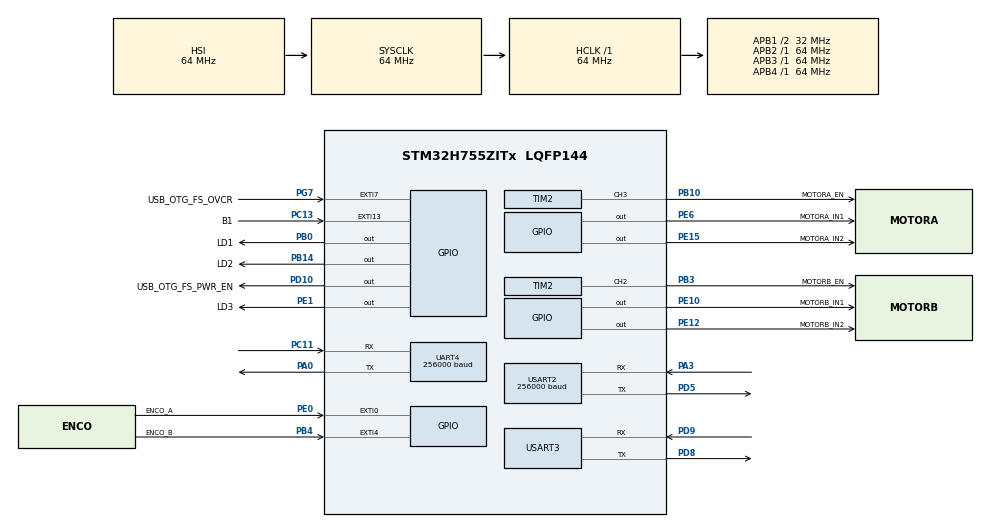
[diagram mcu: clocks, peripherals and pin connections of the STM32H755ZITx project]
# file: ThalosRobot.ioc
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CortexM4.IPs=FATFS_M4\:I,FREERTOS_M4\:I,IWDG2\:I,RCC,WWDG2\:I,DMA,BDMA,MDMA,NVIC2\:I,ETH,USART3,DEBUG,PDM2PCM_M4\:I,PWR,RESMGR_UTILITY,SYS_M4\:I,USB_DEVICE_M4\:I,USB_HOST_M4\:I,CORTEX_M4\:I,GPIO,OPENAMP_M4\:I,VREFBUF,NUCLEO-H755ZI-Q
CortexM7.IPs=FATFS_M7\:I,FREERTOS_M7\:I,IWDG1\:I,RCC\:I,WWDG1\:I,DMA\:I,BDMA\:I,MDMA\:I,NVIC1\:I,ETH\:I,USART3\:I,USB_OTG_FS\:I,USB_OTG_FS1\:I,SYS\:I,CORTEX_M7\:I,DEBUG\:I,PDM2PCM_M7\:I,PWR\:I,RESMGR_UTILITY\:I,USB_DEVICE_M7\:I,USB_HOST_M7\:I,GPIO\:I,OPENAMP_M7\:I,VREFBUF\:I,NUCLEO-H755ZI-Q\:I,TIM6\:I,TIM2\:I,USART2\:I,UART4\:I
CortexM7.Pins=PE6,PC13,PB0,PE10,PE12,PE15,PB14,PB4 (NJTRST),PE0,PE1
Dma.Request0=USART2_RX
Dma.Request1=UART4_RX
Dma.UART4_RX.1.Direction=DMA_PERIPH_TO_MEMORY
Dma.UART4_RX.1.EventEnable=DISABLE
Dma.UART4_RX.1.FIFOMode=DMA_FIFOMODE_DISABLE
Dma.UART4_RX.1.Instance=DMA1_Stream1
Dma.UART4_RX.1.MemDataAlignment=DMA_MDATAALIGN_BYTE
Dma.UART4_RX.1.MemInc=DMA_MINC_ENABLE
Dma.UART4_RX.1.Mode=DMA_CIRCULAR
Dma.UART4_RX.1.PeriphDataAlignment=DMA_PDATAALIGN_BYTE
Dma.UART4_RX.1.PeriphInc=DMA_PINC_DISABLE
Dma.UART4_RX.1.Polarity=HAL_DMAMUX_REQ_GEN_RISING
Dma.UART4_RX.1.Priority=DMA_PRIORITY_LOW
Dma.UART4_RX.1.RequestNumber=1
Dma.UART4_RX.1.SignalID=NONE
Dma.UART4_RX.1.SyncEnable=DISABLE
Dma.UART4_RX.1.SyncPolarity=HAL_DMAMUX_SYNC_NO_EVENT
Dma.UART4_RX.1.SyncRequestNumber=1
Dma.UART4_RX.1.SyncSignalID=NONE
Dma.USART2_RX.0.Direction=DMA_PERIPH_TO_MEMORY
Dma.USART2_RX.0.EventEnable=DISABLE
Dma.USART2_RX.0.FIFOMode=DMA_FIFOMODE_DISABLE
Dma.USART2_RX.0.Instance=DMA1_Stream0
Dma.USART2_RX.0.MemDataAlignment=DMA_MDATAALIGN_BYTE
Dma.USART2_RX.0.MemInc=DMA_MINC_ENABLE
Dma.USART2_RX.0.Mode=DMA_CIRCULAR
Dma.USART2_RX.0.PeriphDataAlignment=DMA_PDATAALIGN_BYTE
Dma.USART2_RX.0.PeriphInc=DMA_PINC_DISABLE
Dma.USART2_RX.0.Polarity=HAL_DMAMUX_REQ_GEN_RISING
Dma.USART2_RX.0.Priority=DMA_PRIORITY_LOW
Dma.USART2_RX.0.RequestNumber=1
Dma.USART2_RX.0.SignalID=NONE
Dma.USART2_RX.0.SyncEnable=DISABLE
Dma.USART2_RX.0.SyncPolarity=HAL_DMAMUX_SYNC_NO_EVENT
Dma.USART2_RX.0.SyncRequestNumber=1
Dma.USART2_RX.0.SyncSignalID=NONE
FREERTOS_M7.BinarySemaphores01=ldRxSem1,Dynamic,NULL,Depleted;ldRxSem2,Dynamic,NULL,Depleted;humanSem,Dynamic,NULL,Depleted
FREERTOS_M7.Mutexes01=telemetryMutex,Dynamic,NULL,Available
FREERTOS_M7.Queues01=trackingQueue,6,LD2450_Msg_t,0,Dynamic,NULL,NULL;fusedQueue,8,Fused_Msg_t,0,Dynamic,NULL,NULL
FREERTOS_M7.Tasks01=motionTask,24,128,StartMotionTask,Default,NULL,Dynamic,NULL,NULL;heartbeatTask,8,128,StartHeartbeathTask,Default,NULL,Dynamic,NULL,NULL;telemetryTask,8,512,StartTelemetryTask,Default,NULL,Dynamic,NULL,NULL;process1Trackin,25,256,StartProcessTracking1,Default,NULL,Dynamic,NULL,NULL;process2Trackin,25,256,StartProcessTracking2,Default,NULL,Dynamic,NULL,NULL;fusionLD,24,256,StartFusionLD,Default,NULL,Dynamic,NULL,NULL;motorTask,26,256,StartMotorTask,Default,NULL,Dynamic,NULL,NULL
FREERTOS_M7.configUSE_NEWLIB_REENTRANT=1
Mcu.Family=STM32H7
Mcu.Name=STM32H755ZITx
Mcu.Package=LQFP144
NVIC1.DMA1_Stream0_IRQn=true\:5\:0\:false\:false\:true\:true\:false\:true\:true
NVIC1.DMA1_Stream1_IRQn=true\:5\:0\:false\:false\:true\:true\:false\:true\:true
NVIC1.EXTI0_IRQn=true\:5\:0\:false\:false\:true\:true\:true\:true\:true
NVIC1.EXTI15_10_IRQn=true\:5\:0\:true\:false\:true\:true\:true\:true\:true
NVIC1.EXTI4_IRQn=true\:5\:0\:false\:false\:true\:true\:true\:true\:true
NVIC1.PriorityGroup=NVIC_PRIORITYGROUP_4
NVIC1.TIM6_DAC_IRQn=true\:15\:0\:false\:false\:true\:false\:false\:true\:true
NVIC1.TimeBase=TIM6_DAC_IRQn
NVIC1.TimeBaseIP=TIM6
NVIC1.UART4_IRQn=true\:5\:0\:false\:false\:true\:true\:true\:true\:true
NVIC1.USART2_IRQn=true\:5\:0\:false\:false\:true\:true\:true\:true\:true
NVIC2.PriorityGroup=NVIC_PRIORITYGROUP_4
PA0.Mode=Asynchronous
PA0.PinAttribute=CortexM7
PA0.Signal=UART4_TX
PA1.PinAttribute=CortexM7
PA1.Signal=ETH_REF_CLK
PA11.PinAttribute=CortexM7
PA11.Signal=USB_OTG_FS_DM
PA12.PinAttribute=CortexM7
PA12.Signal=USB_OTG_FS_DP
PA2.PinAttribute=CortexM7
PA2.Signal=ETH_MDIO
PA3.Mode=Asynchronous
PA3.PinAttribute=CortexM7
PA3.Signal=USART2_RX
PA7.PinAttribute=CortexM7
PA7.Signal=ETH_CRS_DV
PA8.PinAttribute=CortexM7
PA8.Signal=USB_OTG_FS_SOF
PA9.PinAttribute=CortexM7
PA9.Signal=USB_OTG_FS_VBUS
PB0.GPIO_Label=LD1
PB0.PinAttribute=CortexM7
PB0.Signal=GPIO_Output
PB10.GPIO_Label=MOTORA_EN
PB10.PinAttribute=CortexM7
PB10.Signal=S_TIM2_CH3
PB13.PinAttribute=CortexM7
PB13.Signal=ETH_TXD1
PB14.GPIO_Label=LD2
PB14.PinAttribute=CortexM7
PB14.Signal=GPIO_Output
PB3\ (JTDO/TRACESWO).GPIO_Label=MOTORB_EN
PB3\ (JTDO/TRACESWO).PinAttribute=CortexM7
PB3\ (JTDO/TRACESWO).Signal=S_TIM2_CH2
PB4\ (NJTRST).GPIO_Label=ENCO_B
PB4\ (NJTRST).PinAttribute=CortexM7
PB4\ (NJTRST).Signal=GPXTI4
PC1.PinAttribute=CortexM7
PC1.Signal=ETH_MDC
PC11.Mode=Asynchronous
PC11.PinAttribute=CortexM7
PC11.Signal=UART4_RX
PC13.GPIO_Label=B1
PC13.PinAttribute=CortexM7
PC13.Signal=GPXTI13
PC14-OSC32_IN\ (OSC32_IN).PinAttribute=Free
PC14-OSC32_IN\ (OSC32_IN).Signal=RCC_OSC32_IN
PC15-OSC32_OUT\ (OSC32_OUT).PinAttribute=Free
PC15-OSC32_OUT\ (OSC32_OUT).Signal=RCC_OSC32_OUT
PC4.PinAttribute=CortexM7
PC4.Signal=ETH_RXD0
PC5.PinAttribute=CortexM7
PC5.Signal=ETH_RXD1
PC6.Signal=S_TIM3_CH1
PD10.GPIO_Label=USB_OTG_FS_PWR_EN
PD10.PinAttribute=Free
PD10.Signal=GPIO_Output
PD5.Mode=Asynchronous
PD5.PinAttribute=CortexM7
PD5.Signal=USART2_TX
PD8.Mode=Asynchronous
PD8.PinAttribute=CortexM7
PD8.Signal=USART3_TX
PD9.Mode=Asynchronous
PD9.PinAttribute=CortexM7
PD9.Signal=USART3_RX
PE0.GPIO_Label=ENCO_A
PE0.PinAttribute=CortexM7
PE0.Signal=GPXTI0
PE1.GPIO_Label=LD3
PE1.PinAttribute=CortexM7
PE1.Signal=GPIO_Output
PE10.GPIO_Label=MOTORB_IN1
PE10.PinAttribute=CortexM7
PE10.Signal=GPIO_Output
PE12.GPIO_Label=MOTORB_IN2
PE12.PinAttribute=CortexM7
PE12.Signal=GPIO_Output
PE15.GPIO_Label=MOTORA_IN2
PE15.PinAttribute=CortexM7
PE15.Signal=GPIO_Output
PE6.GPIO_Label=MOTORA_IN1
PE6.PinAttribute=CortexM7
PE6.Signal=GPIO_Output
PG11.PinAttribute=CortexM7
PG11.Signal=ETH_TX_EN
PG13.PinAttribute=CortexM7
PG13.Signal=ETH_TXD0
PG7.GPIO_Label=USB_OTG_FS_OVCR
PG7.PinAttribute=Free
PG7.Signal=GPXTI7
PH0-OSC_IN\ (PH0).PinAttribute=Free
PH0-OSC_IN\ (PH0).Signal=RCC_OSC_IN
PH1-OSC_OUT\ (PH1).PinAttribute=Free
PH1-OSC_OUT\ (PH1).Signal=RCC_OSC_OUT
ProjectManager.HeapSize=M4-0x200,M7-0x200
ProjectManager.StackSize=M4-0x400,M7-0x400
ProjectManager.TargetToolchain=STM32CubeIDE
RCC.ADCFreq_Value=129000000
RCC.APB1Freq_Value=32000000
RCC.APB2Freq_Value=64000000
RCC.APB3Freq_Value=64000000
RCC.APB4Freq_Value=64000000
RCC.CortexFreq_Value=64000000
RCC.D2PPRE1=RCC_APB1_DIV2
RCC.DIVM1=5
RCC.DIVN1=48
RCC.DIVQ1=5
RCC.HCLKFreq_Value=64000000
RCC.PLL2FRACN=0
RCC.PLL3FRACN=0
RCC.PLLFRACN=0
RCC.SYSCLKFreq_VALUE=64000000
RCC.SupplySource=PWR_DIRECT_SMPS_SUPPLY
RCC.USBFreq_Value=122880000
SH.S_TIM2_CH2.0=TIM2_CH2,PWM Generation2 CH2
SH.S_TIM2_CH3.0=TIM2_CH3,PWM Generation3 CH3
SH.S_TIM3_CH1.0=TIM3_CH1
TIM2.AutoReloadPreload=TIM_AUTORELOAD_PRELOAD_ENABLE
TIM2.Channel-PWM\ Generation2\ CH2=TIM_CHANNEL_2
TIM2.Channel-PWM\ Generation3\ CH3=TIM_CHANNEL_3
TIM2.Period=65535
TIM2.Prescaler=0
UART4.BaudRate=256000
USART2.BaudRate=256000
USART2.VirtualMode-Asynchronous=VM_ASYNC
USART3.VirtualMode-Asynchronous=VM_ASYNC
VP_FREERTOS_M7_VS_CMSIS_V2.Mode=CMSIS_V2
VP_SYS_M4_VS_Systick.Mode=SysTick
VP_SYS_VS_tim6.Mode=TIM6
VP_TIM2_VS_ClockSourceINT.Mode=Internal
board=NUCLEO-H755ZI-Q

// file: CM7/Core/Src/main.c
/* USER CODE BEGIN Header */
/**
  ******************************************************************************
  * @file           : main.c
  * @brief          : Main program body
  ******************************************************************************
  * @attention
  *
  * Copyright (c) 2026 STMicroelectronics.
  * All rights reserved.
  *
  * This software is licensed under terms that can be found in the LICENSE file
  * in the root directory of this software component.
  * If no LICENSE file comes with this software, it is provided AS-IS.
  *
  ******************************************************************************
  */
/* USER CODE END Header */
#include "main.h"
#include "FreeRTOS.h"
#include "cmsis_os2.h"

/* USER CODE BEGIN Includes */

#include <stdint.h>
#include <stdio.h>
#include <string.h>
#include <stdlib.h>

#include "LD2450.h"
#include "encoder.h"
#include "motor.h"

/* USER CODE END Includes */

/* USER CODE BEGIN PTD */

typedef struct {
  LD2450_Handle_t       *radar;
  uint8_t                id;
  UART_HandleTypeDef    *huart;
  osMessageQueueId_t     queue;
  osSemaphoreId_t        sem;
} RadarTaskCfg_t;

typedef struct {
  int16_t x, y, speed;
  uint8_t src;             // bit0 = visto por R1, bit1 = visto por R2
} Fused_Target_t;

#define MAX_FUSED    6

typedef struct {
  uint32_t timestamp;
  uint8_t  count;
  Fused_Target_t t[MAX_FUSED];
} Fused_Msg_t;

/* USER CODE END PTD */

/* USER CODE BEGIN PD */

#define T_HEARTBEAT_MS      250U      // Cambio de estado del LED verde (Task Heartbeat)

#define DISTANCE_T   45   // mm entre radares
#define MAX_AGE_MS   150   // un frame más viejo se descarta
#define GATE_MM      300   // distancia máxima para considerar el mismo blanco
#define TS_MS         40

/* DUAL_CORE_BOOT_SYNC_SEQUENCE: Define for dual core boot synchronization    */
/*                             demonstration code based on hardware semaphore */
/* This define is present in both CM7/CM4 projects                            */
/* To comment when developping/debugging on a single core                     */
// #define DUAL_CORE_BOOT_SYNC_SEQUENCE

#if defined(DUAL_CORE_BOOT_SYNC_SEQUENCE)
#ifndef HSEM_ID_0
#define HSEM_ID_0 (0U) /* HW semaphore 0*/
#endif
#endif /* DUAL_CORE_BOOT_SYNC_SEQUENCE */

/* USER CODE END PD */

TIM_HandleTypeDef htim2;

UART_HandleTypeDef huart4;
UART_HandleTypeDef huart2;
UART_HandleTypeDef huart3;
DMA_HandleTypeDef hdma_uart4_rx;
DMA_HandleTypeDef hdma_usart2_rx;

/* Definitions for motionTask */
osThreadId_t motionTaskHandle;
const osThreadAttr_t motionTask_attributes = {
  .name = "motionTask",
  .stack_size = 128 * 4,
  .priority = (osPriority_t) osPriorityNormal,
};
/* Definitions for heartbeatTask */
osThreadId_t heartbeatTaskHandle;
const osThreadAttr_t heartbeatTask_attributes = {
  .name = "heartbeatTask",
  .stack_size = 128 * 4,
  .priority = (osPriority_t) osPriorityLow,
};
/* Definitions for telemetryTask */
osThreadId_t telemetryTaskHandle;
const osThreadAttr_t telemetryTask_attributes = {
  .name = "telemetryTask",
  .stack_size = 512 * 4,
  .priority = (osPriority_t) osPriorityLow,
};
/* Definitions for process1Trackin */
osThreadId_t process1TrackinHandle;
const osThreadAttr_t process1Trackin_attributes = {
  .name = "process1Trackin",
  .stack_size = 256 * 4,
  .priority = (osPriority_t) osPriorityNormal1,
};
/* Definitions for process2Trackin */
osThreadId_t process2TrackinHandle;
const osThreadAttr_t process2Trackin_attributes = {
  .name = "process2Trackin",
  .stack_size = 256 * 4,
  .priority = (osPriority_t) osPriorityNormal1,
};
/* Definitions for fusionLD */
osThreadId_t fusionLDHandle;
const osThreadAttr_t fusionLD_attributes = {
  .name = "fusionLD",
  .stack_size = 256 * 4,
  .priority = (osPriority_t) osPriorityNormal,
};
/* Definitions for motorTask */
osThreadId_t motorTaskHandle;
const osThreadAttr_t motorTask_attributes = {
  .name = "motorTask",
  .stack_size = 256 * 4,
  .priority = (osPriority_t) osPriorityNormal,
};
/* Definitions for trackingQueue */
osMessageQueueId_t trackingQueueHandle;
const osMessageQueueAttr_t trackingQueue_attributes = {
  .name = "trackingQueue"
};
/* Definitions for fusedQueue */
osMessageQueueId_t fusedQueueHandle;
const osMessageQueueAttr_t fusedQueue_attributes = {
  .name = "fusedQueue"
};
/* Definitions for telemetryMutex */
osMutexId_t telemetryMutexHandle;
const osMutexAttr_t telemetryMutex_attributes = {
  .name = "telemetryMutex"
};
/* Definitions for ldRxSem1 */
osSemaphoreId_t ldRxSem1Handle;
const osSemaphoreAttr_t ldRxSem1_attributes = {
  .name = "ldRxSem1"
};
/* Definitions for ldRxSem2 */
osSemaphoreId_t ldRxSem2Handle;
const osSemaphoreAttr_t ldRxSem2_attributes = {
  .name = "ldRxSem2"
};
/* Definitions for humanSem */
osSemaphoreId_t humanSemHandle;
const osSemaphoreAttr_t humanSem_attributes = {
  .name = "humanSem"
};
/* USER CODE BEGIN PV */

RadarTaskCfg_t cfg1, cfg2;

LD2450_Handle_t radar1;
LD2450_Handle_t radar2;

Motor_Handler_t motorA;
Motor_Handler_t motorB;

Encoder_Handler_t encoderA;
Encoder_Handler_t encoderB;

/* USER CODE END PV */

void SystemClock_Config(void);
static void MX_GPIO_Init(void);
static void MX_DMA_Init(void);
static void MX_USART3_UART_Init(void);
static void MX_TIM2_Init(void);
static void MX_USART2_UART_Init(void);
static void MX_UART4_Init(void);
void StartMotionTask(void *argument);
void StartHeartbeathTask(void *argument);
void StartTelemetryTask(void *argument);
void StartProcessTracking1(void *argument);
void StartProcessTracking2(void *argument);
void StartFusionLD(void *argument);
void StartMotorTask(void *argument);

/* USER CODE BEGIN PFP */

uint8_t normalize(const LD2450_Msg_t *m, int16_t x_offset, uint8_t src, Fused_Target_t *out) {
    uint8_t n = 0;

    for(int i = 0; i < 3; i++) {
      const LD2450_Target_t *t = &m->frame.t[i];
      if(!target_valid(t)) continue;

      out[n].x = t->x + x_offset;
      out[n].y = t->y;
      out[n].speed = t->speed;
      out[n].src = src;

      n++;
    }

    return n;
}

void push(LD2450_Msg_t *out, uint8_t *count, const LD2450_Target_t *t) {
  if(*count >= 3) return;
  out->frame.t[*count] = *t;

  (*count)++;
}

void RadarTask_Run(RadarTaskCfg_t *config) {
  // Cast the argument to the radar task configuration structure
  RadarTaskCfg_t *c = (RadarTaskCfg_t *)config;

  // Initialize the radar peripheral; enter error handler if initialization fails
  if (LD2450_Init(c->radar, c->id, c->huart, c->queue, c->sem) != HAL_OK)
  {
      Error_Handler();
  }

  /* Infinite loop */
  for (;;)
  {
      // Process radar data; if it fails, delay execution to free up CPU
      if (LD2450_Process(c->radar) != HAL_OK)
      {
          osDelay(100);
      }
  }
}

void UART_Print(const char *msg){
	osMutexAcquire(telemetryMutexHandle, osWaitForever);
	HAL_UART_Transmit(&huart3, (const uint8_t *)msg, (uint16_t)strlen(msg), 100);
	osMutexRelease(telemetryMutexHandle);
}

/* USER CODE END PFP */

int main(void)
{

/* USER CODE BEGIN Boot_Mode_Sequence_0 */
#if defined(DUAL_CORE_BOOT_SYNC_SEQUENCE)
  int32_t timeout;
#endif /* DUAL_CORE_BOOT_SYNC_SEQUENCE */
/* USER CODE END Boot_Mode_Sequence_0 */

/* USER CODE BEGIN Boot_Mode_Sequence_1 */
#if defined(DUAL_CORE_BOOT_SYNC_SEQUENCE)
  /* Wait until CPU2 boots and enters in stop mode or timeout*/
  timeout = 0xFFFF;
  while((__HAL_RCC_GET_FLAG(RCC_FLAG_D2CKRDY) != RESET) && (timeout-- > 0));
  if ( timeout < 0 )
  {
  Error_Handler();
  }
#endif /* DUAL_CORE_BOOT_SYNC_SEQUENCE */
/* USER CODE END Boot_Mode_Sequence_1 */
  /* MCU Configuration--------------------------------------------------------*/

  /* Reset of all peripherals, Initializes the Flash interface and the Systick. */
  HAL_Init();

  /* Configure the system clock */
  SystemClock_Config();
/* USER CODE BEGIN Boot_Mode_Sequence_2 */
#if defined(DUAL_CORE_BOOT_SYNC_SEQUENCE)
/* When system initialization is finished, Cortex-M7 will release Cortex-M4 by means of
HSEM notification */
/*HW semaphore Clock enable*/
__HAL_RCC_HSEM_CLK_ENABLE();
/*Take HSEM */
HAL_HSEM_FastTake(HSEM_ID_0);
/*Release HSEM in order to notify the CPU2(CM4)*/
HAL_HSEM_Release(HSEM_ID_0,0);
/* wait until CPU2 wakes up from stop mode */
timeout = 0xFFFF;
while((__HAL_RCC_GET_FLAG(RCC_FLAG_D2CKRDY) == RESET) && (timeout-- > 0));
if ( timeout < 0 )
{
Error_Handler();
}
#endif /* DUAL_CORE_BOOT_SYNC_SEQUENCE */
/* USER CODE END Boot_Mode_Sequence_2 */

  /* Initialize all configured peripherals */
  MX_GPIO_Init();
  MX_DMA_Init();
  MX_USART3_UART_Init();
  MX_TIM2_Init();
  MX_USART2_UART_Init();
  MX_UART4_Init();
  /* USER CODE BEGIN 2 */

  CoreDebug->DEMCR |= CoreDebug_DEMCR_TRCENA_Msk;
  DWT->LAR = 0xC5ACCE55;
  DWT->CYCCNT = 0;
  DWT->CTRL |= DWT_CTRL_CYCCNTENA_Msk;

  Encoder_Init(&encoderA, ENCO_A_Pin, 20);
  Encoder_Init(&encoderB, ENCO_B_Pin, 20);

  Motor_Config_t motorA_conf = {
    .encoder = &encoderA,
    .in1_pin = MOTORA_IN1_Pin,
    .in2_pin = MOTORA_IN2_Pin,
    .in1_port = MOTORA_IN1_GPIO_Port,
    .in2_port = MOTORA_IN2_GPIO_Port,
    .kp = 1.107f,
	  .ki = 12.65f,
    .pwm_ch = TIM_CHANNEL_3,
    .timer = &htim2
  };

  Motor_Config_t motorB_conf = {
    .encoder = &encoderB,
    .in1_pin = MOTORB_IN1_Pin,
    .in2_pin = MOTORB_IN2_Pin,
    .in1_port = MOTORB_IN1_GPIO_Port,
    .in2_port = MOTORB_IN2_GPIO_Port,
    .kp = 1.360f,
	  .ki = 13.29f,
    .pwm_ch = TIM_CHANNEL_2,
    .timer = &htim2
  };

  Motor_Init(&motorA, &motorA_conf);
  Motor_Init(&motorB, &motorB_conf);

  /* USER CODE END 2 */

  /* Init scheduler */
  osKernelInitialize();
  /* Create the mutex(es) */
  /* creation of telemetryMutex */
  telemetryMutexHandle = osMutexNew(&telemetryMutex_attributes);

  /* Create the semaphores(s) */
  /* creation of ldRxSem1 */
  ldRxSem1Handle = osSemaphoreNew(1, 0, &ldRxSem1_attributes);

  /* creation of ldRxSem2 */
  ldRxSem2Handle = osSemaphoreNew(1, 0, &ldRxSem2_attributes);

  /* creation of humanSem */
  humanSemHandle = osSemaphoreNew(1, 0, &humanSem_attributes);

  /* Create the queue(s) */
  /* creation of trackingQueue */
  trackingQueueHandle = osMessageQueueNew (6, sizeof(LD2450_Msg_t), &trackingQueue_attributes);

  /* creation of fusedQueue */
  fusedQueueHandle = osMessageQueueNew (8, sizeof(Fused_Msg_t), &fusedQueue_attributes);

  /* USER CODE BEGIN RTOS_QUEUES */
  /* add queues, ... */

  cfg1 = (RadarTaskCfg_t){ &radar1, 1, &huart2, trackingQueueHandle, ldRxSem1Handle };
  cfg2 = (RadarTaskCfg_t){ &radar2, 2, &huart4, trackingQueueHandle, ldRxSem2Handle };
  /* USER CODE END RTOS_QUEUES */

  /* Create the thread(s) */
  /* creation of motionTask */
  motionTaskHandle = osThreadNew(StartMotionTask, NULL, &motionTask_attributes);

  /* creation of heartbeatTask */
  heartbeatTaskHandle = osThreadNew(StartHeartbeathTask, NULL, &heartbeatTask_attributes);

  /* creation of telemetryTask */
  telemetryTaskHandle = osThreadNew(StartTelemetryTask, NULL, &telemetryTask_attributes);

  /* creation of process1Trackin */
  process1TrackinHandle = osThreadNew(StartProcessTracking1, NULL, &process1Trackin_attributes);

  /* creation of process2Trackin */
  process2TrackinHandle = osThreadNew(StartProcessTracking2, NULL, &process2Trackin_attributes);

  /* creation of fusionLD */
  fusionLDHandle = osThreadNew(StartFusionLD, NULL, &fusionLD_attributes);

  /* creation of motorTask */
  motorTaskHandle = osThreadNew(StartMotorTask, NULL, &motorTask_attributes);

  /* Start scheduler */
  osKernelStart();

  /* We should never get here as control is now taken by the scheduler */

  /* Infinite loop */
  while (1)
  {

  }
}

void SystemClock_Config(void)
{
  RCC_OscInitTypeDef RCC_OscInitStruct = {0};
  RCC_ClkInitTypeDef RCC_ClkInitStruct = {0};

  /** Supply configuration update enable
  */
  HAL_PWREx_ConfigSupply(PWR_DIRECT_SMPS_SUPPLY);

  /** Configure the main internal regulator output voltage
  */
  __HAL_PWR_VOLTAGESCALING_CONFIG(PWR_REGULATOR_VOLTAGE_SCALE3);

  while(!__HAL_PWR_GET_FLAG(PWR_FLAG_VOSRDY)) {}

  /** Initializes the RCC Oscillators according to the specified parameters
  * in the RCC_OscInitTypeDef structure.
  */
  RCC_OscInitStruct.OscillatorType = RCC_OSCILLATORTYPE_HSI;
  RCC_OscInitStruct.HSIState = RCC_HSI_DIV1;
  RCC_OscInitStruct.HSICalibrationValue = RCC_HSICALIBRATION_DEFAULT;
  RCC_OscInitStruct.PLL.PLLState = RCC_PLL_NONE;
  if (HAL_RCC_OscConfig(&RCC_OscInitStruct) != HAL_OK)
  {
    Error_Handler();
  }

  /** Initializes the CPU, AHB and APB buses clocks
  */
  RCC_ClkInitStruct.ClockType = RCC_CLOCKTYPE_HCLK|RCC_CLOCKTYPE_SYSCLK
                              |RCC_CLOCKTYPE_PCLK1|RCC_CLOCKTYPE_PCLK2
                              |RCC_CLOCKTYPE_D3PCLK1|RCC_CLOCKTYPE_D1PCLK1;
  RCC_ClkInitStruct.SYSCLKSource = RCC_SYSCLKSOURCE_HSI;
  RCC_ClkInitStruct.SYSCLKDivider = RCC_SYSCLK_DIV1;
  RCC_ClkInitStruct.AHBCLKDivider = RCC_HCLK_DIV1;
  RCC_ClkInitStruct.APB3CLKDivider = RCC_APB3_DIV1;
  RCC_ClkInitStruct.APB1CLKDivider = RCC_APB1_DIV2;
  RCC_ClkInitStruct.APB2CLKDivider = RCC_APB2_DIV1;
  RCC_ClkInitStruct.APB4CLKDivider = RCC_APB4_DIV1;

  if (HAL_RCC_ClockConfig(&RCC_ClkInitStruct, FLASH_LATENCY_1) != HAL_OK)
  {
    Error_Handler();
  }
}

static void MX_TIM2_Init(void)
{

  TIM_ClockConfigTypeDef sClockSourceConfig = {0};
  TIM_MasterConfigTypeDef sMasterConfig = {0};
  TIM_OC_InitTypeDef sConfigOC = {0};

  htim2.Instance = TIM2;
  htim2.Init.Prescaler = 15;
  htim2.Init.CounterMode = TIM_COUNTERMODE_UP;
  htim2.Init.Period = 255;
  htim2.Init.ClockDivision = TIM_CLOCKDIVISION_DIV1;
  htim2.Init.AutoReloadPreload = TIM_AUTORELOAD_PRELOAD_DISABLE;
  if (HAL_TIM_Base_Init(&htim2) != HAL_OK)
  {
    Error_Handler();
  }
  sClockSourceConfig.ClockSource = TIM_CLOCKSOURCE_INTERNAL;
  if (HAL_TIM_ConfigClockSource(&htim2, &sClockSourceConfig) != HAL_OK)
  {
    Error_Handler();
  }
  if (HAL_TIM_PWM_Init(&htim2) != HAL_OK)
  {
    Error_Handler();
  }
  sMasterConfig.MasterOutputTrigger = TIM_TRGO_RESET;
  sMasterConfig.MasterSlaveMode = TIM_MASTERSLAVEMODE_DISABLE;
  if (HAL_TIMEx_MasterConfigSynchronization(&htim2, &sMasterConfig) != HAL_OK)
  {
    Error_Handler();
  }
  sConfigOC.OCMode = TIM_OCMODE_PWM1;
  sConfigOC.Pulse = 0;
  sConfigOC.OCPolarity = TIM_OCPOLARITY_HIGH;
  sConfigOC.OCFastMode = TIM_OCFAST_DISABLE;
  if (HAL_TIM_PWM_ConfigChannel(&htim2, &sConfigOC, TIM_CHANNEL_2) != HAL_OK)
  {
    Error_Handler();
  }
  if (HAL_TIM_PWM_ConfigChannel(&htim2, &sConfigOC, TIM_CHANNEL_3) != HAL_OK)
  {
    Error_Handler();
  }
  HAL_TIM_MspPostInit(&htim2);

}

static void MX_UART4_Init(void)
{

  huart4.Instance = UART4;
  huart4.Init.BaudRate = 256000;
  huart4.Init.WordLength = UART_WORDLENGTH_8B;
  huart4.Init.StopBits = UART_STOPBITS_1;
  huart4.Init.Parity = UART_PARITY_NONE;
  huart4.Init.Mode = UART_MODE_TX_RX;
  huart4.Init.HwFlowCtl = UART_HWCONTROL_NONE;
  huart4.Init.OverSampling = UART_OVERSAMPLING_16;
  huart4.Init.OneBitSampling = UART_ONE_BIT_SAMPLE_DISABLE;
  huart4.Init.ClockPrescaler = UART_PRESCALER_DIV1;
  huart4.AdvancedInit.AdvFeatureInit = UART_ADVFEATURE_NO_INIT;
  if (HAL_UART_Init(&huart4) != HAL_OK)
  {
    Error_Handler();
  }
  if (HAL_UARTEx_SetTxFifoThreshold(&huart4, UART_TXFIFO_THRESHOLD_1_8) != HAL_OK)
  {
    Error_Handler();
  }
  if (HAL_UARTEx_SetRxFifoThreshold(&huart4, UART_RXFIFO_THRESHOLD_1_8) != HAL_OK)
  {
    Error_Handler();
  }
  if (HAL_UARTEx_DisableFifoMode(&huart4) != HAL_OK)
  {
    Error_Handler();
  }

}

static void MX_USART2_UART_Init(void)
{

  huart2.Instance = USART2;
  huart2.Init.BaudRate = 256000;
  huart2.Init.WordLength = UART_WORDLENGTH_8B;
  huart2.Init.StopBits = UART_STOPBITS_1;
  huart2.Init.Parity = UART_PARITY_NONE;
  huart2.Init.Mode = UART_MODE_TX_RX;
  huart2.Init.HwFlowCtl = UART_HWCONTROL_NONE;
  huart2.Init.OverSampling = UART_OVERSAMPLING_16;
  huart2.Init.OneBitSampling = UART_ONE_BIT_SAMPLE_DISABLE;
  huart2.Init.ClockPrescaler = UART_PRESCALER_DIV1;
  huart2.AdvancedInit.AdvFeatureInit = UART_ADVFEATURE_NO_INIT;
  if (HAL_UART_Init(&huart2) != HAL_OK)
  {
    Error_Handler();
  }
  if (HAL_UARTEx_SetTxFifoThreshold(&huart2, UART_TXFIFO_THRESHOLD_1_8) != HAL_OK)
  {
    Error_Handler();
  }
  if (HAL_UARTEx_SetRxFifoThreshold(&huart2, UART_RXFIFO_THRESHOLD_1_8) != HAL_OK)
  {
    Error_Handler();
  }
  if (HAL_UARTEx_DisableFifoMode(&huart2) != HAL_OK)
  {
    Error_Handler();
  }

}

static void MX_USART3_UART_Init(void)
{

  huart3.Instance = USART3;
  huart3.Init.BaudRate = 115200;
  huart3.Init.WordLength = UART_WORDLENGTH_8B;
  huart3.Init.StopBits = UART_STOPBITS_1;
  huart3.Init.Parity = UART_PARITY_NONE;
  huart3.Init.Mode = UART_MODE_TX_RX;
  huart3.Init.HwFlowCtl = UART_HWCONTROL_NONE;
  huart3.Init.OverSampling = UART_OVERSAMPLING_16;
  huart3.Init.OneBitSampling = UART_ONE_BIT_SAMPLE_DISABLE;
  huart3.Init.ClockPrescaler = UART_PRESCALER_DIV1;
  huart3.AdvancedInit.AdvFeatureInit = UART_ADVFEATURE_NO_INIT;
  if (HAL_UART_Init(&huart3) != HAL_OK)
  {
    Error_Handler();
  }
  if (HAL_UARTEx_SetTxFifoThreshold(&huart3, UART_TXFIFO_THRESHOLD_1_8) != HAL_OK)
  {
    Error_Handler();
  }
  if (HAL_UARTEx_SetRxFifoThreshold(&huart3, UART_RXFIFO_THRESHOLD_1_8) != HAL_OK)
  {
    Error_Handler();
  }
  if (HAL_UARTEx_DisableFifoMode(&huart3) != HAL_OK)
  {
    Error_Handler();
  }

}

static void MX_DMA_Init(void)
{

  /* DMA controller clock enable */
  __HAL_RCC_DMA1_CLK_ENABLE();

  /* DMA interrupt init */
  /* DMA1_Stream0_IRQn interrupt configuration */
  HAL_NVIC_SetPriority(DMA1_Stream0_IRQn, 5, 0);
  HAL_NVIC_EnableIRQ(DMA1_Stream0_IRQn);
  /* DMA1_Stream1_IRQn interrupt configuration */
  HAL_NVIC_SetPriority(DMA1_Stream1_IRQn, 5, 0);
  HAL_NVIC_EnableIRQ(DMA1_Stream1_IRQn);

}

static void MX_GPIO_Init(void)
{
  GPIO_InitTypeDef GPIO_InitStruct = {0};

  /* GPIO Ports Clock Enable */
  __HAL_RCC_GPIOE_CLK_ENABLE();
  __HAL_RCC_GPIOC_CLK_ENABLE();
  __HAL_RCC_GPIOA_CLK_ENABLE();
  __HAL_RCC_GPIOB_CLK_ENABLE();
  __HAL_RCC_GPIOD_CLK_ENABLE();
  __HAL_RCC_GPIOG_CLK_ENABLE();

  /*Configure GPIO pin Output Level */
  HAL_GPIO_WritePin(GPIOE, MOTORA_IN1_Pin|MOTORB_IN1_Pin|MOTORB_IN2_Pin|MOTORA_IN2_Pin
                          |LD3_Pin, GPIO_PIN_RESET);

  /*Configure GPIO pin Output Level */
  HAL_GPIO_WritePin(GPIOB, LD1_Pin|LD2_Pin, GPIO_PIN_RESET);

  /*Configure GPIO pins : MOTORA_IN1_Pin MOTORB_IN1_Pin MOTORB_IN2_Pin MOTORA_IN2_Pin
                           LD3_Pin */
  GPIO_InitStruct.Pin = MOTORA_IN1_Pin|MOTORB_IN1_Pin|MOTORB_IN2_Pin|MOTORA_IN2_Pin
                          |LD3_Pin;
  GPIO_InitStruct.Mode = GPIO_MODE_OUTPUT_PP;
  GPIO_InitStruct.Pull = GPIO_NOPULL;
  GPIO_InitStruct.Speed = GPIO_SPEED_FREQ_LOW;
  HAL_GPIO_Init(GPIOE, &GPIO_InitStruct);

  /*Configure GPIO pin : B1_Pin */
  GPIO_InitStruct.Pin = B1_Pin;
  GPIO_InitStruct.Mode = GPIO_MODE_IT_RISING;
  GPIO_InitStruct.Pull = GPIO_NOPULL;
  HAL_GPIO_Init(B1_GPIO_Port, &GPIO_InitStruct);

  /*Configure GPIO pins : PC1 PC4 PC5 */
  GPIO_InitStruct.Pin = GPIO_PIN_1|GPIO_PIN_4|GPIO_PIN_5;
  GPIO_InitStruct.Mode = GPIO_MODE_AF_PP;
  GPIO_InitStruct.Pull = GPIO_NOPULL;
  GPIO_InitStruct.Speed = GPIO_SPEED_FREQ_HIGH;
  GPIO_InitStruct.Alternate = GPIO_AF11_ETH;
  HAL_GPIO_Init(GPIOC, &GPIO_InitStruct);

  /*Configure GPIO pins : PA1 PA2 PA7 */
  GPIO_InitStruct.Pin = GPIO_PIN_1|GPIO_PIN_2|GPIO_PIN_7;
  GPIO_InitStruct.Mode = GPIO_MODE_AF_PP;
  GPIO_InitStruct.Pull = GPIO_NOPULL;
  GPIO_InitStruct.Speed = GPIO_SPEED_FREQ_HIGH;
  GPIO_InitStruct.Alternate = GPIO_AF11_ETH;
  HAL_GPIO_Init(GPIOA, &GPIO_InitStruct);

  /*Configure GPIO pins : LD1_Pin LD2_Pin */
  GPIO_InitStruct.Pin = LD1_Pin|LD2_Pin;
  GPIO_InitStruct.Mode = GPIO_MODE_OUTPUT_PP;
  GPIO_InitStruct.Pull = GPIO_NOPULL;
  GPIO_InitStruct.Speed = GPIO_SPEED_FREQ_LOW;
  HAL_GPIO_Init(GPIOB, &GPIO_InitStruct);

  /*Configure GPIO pin : PB13 */
  GPIO_InitStruct.Pin = GPIO_PIN_13;
  GPIO_InitStruct.Mode = GPIO_MODE_AF_PP;
  GPIO_InitStruct.Pull = GPIO_NOPULL;
  GPIO_InitStruct.Speed = GPIO_SPEED_FREQ_HIGH;
  GPIO_InitStruct.Alternate = GPIO_AF11_ETH;
  HAL_GPIO_Init(GPIOB, &GPIO_InitStruct);

  /*Configure GPIO pins : PA8 PA11 PA12 */
  GPIO_InitStruct.Pin = GPIO_PIN_8|GPIO_PIN_11|GPIO_PIN_12;
  GPIO_InitStruct.Mode = GPIO_MODE_AF_PP;
  GPIO_InitStruct.Pull = GPIO_NOPULL;
  GPIO_InitStruct.Speed = GPIO_SPEED_FREQ_LOW;
  GPIO_InitStruct.Alternate = GPIO_AF10_OTG1_FS;
  HAL_GPIO_Init(GPIOA, &GPIO_InitStruct);

  /*Configure GPIO pins : PG11 PG13 */
  GPIO_InitStruct.Pin = GPIO_PIN_11|GPIO_PIN_13;
  GPIO_InitStruct.Mode = GPIO_MODE_AF_PP;
  GPIO_InitStruct.Pull = GPIO_NOPULL;
  GPIO_InitStruct.Speed = GPIO_SPEED_FREQ_HIGH;
  GPIO_InitStruct.Alternate = GPIO_AF11_ETH;
  HAL_GPIO_Init(GPIOG, &GPIO_InitStruct);

  /*Configure GPIO pin : ENCO_B_Pin */
  GPIO_InitStruct.Pin = ENCO_B_Pin;
  GPIO_InitStruct.Mode = GPIO_MODE_IT_RISING;
  GPIO_InitStruct.Pull = GPIO_NOPULL;
  HAL_GPIO_Init(ENCO_B_GPIO_Port, &GPIO_InitStruct);

  /*Configure GPIO pin : ENCO_A_Pin */
  GPIO_InitStruct.Pin = ENCO_A_Pin;
  GPIO_InitStruct.Mode = GPIO_MODE_IT_RISING;
  GPIO_InitStruct.Pull = GPIO_NOPULL;
  HAL_GPIO_Init(ENCO_A_GPIO_Port, &GPIO_InitStruct);

  /* EXTI interrupt init*/
  HAL_NVIC_SetPriority(ENCO_A_EXTI_IRQn, 5, 0);
  HAL_NVIC_EnableIRQ(ENCO_A_EXTI_IRQn);

  HAL_NVIC_SetPriority(ENCO_B_EXTI_IRQn, 5, 0);
  HAL_NVIC_EnableIRQ(ENCO_B_EXTI_IRQn);

  HAL_NVIC_SetPriority(B1_EXTI_IRQn, 5, 0);
  HAL_NVIC_EnableIRQ(B1_EXTI_IRQn);

}

/* USER CODE BEGIN 4 */

void HAL_GPIO_EXTI_Callback(uint16_t GPIO_Pin) {
  Encoder_OnExti(&encoderA, GPIO_Pin);
  Encoder_OnExti(&encoderB, GPIO_Pin);
}

void HAL_GPIO_EXTI_Rising_Callback(uint16_t GPIO_Pin) {
  Encoder_OnExti(&encoderA, GPIO_Pin);
  Encoder_OnExti(&encoderB, GPIO_Pin);
}

void HAL_UARTEx_RxEventCallback(UART_HandleTypeDef *huart, uint16_t Size) {
  LD2450_RxEventCb(&radar1, huart, Size);
  LD2450_RxEventCb(&radar2, huart, Size);
}

// overrun ó framing: reload
void HAL_UART_ErrorCallback(UART_HandleTypeDef *huart) {
  LD2450_ErrorCb(&radar1, huart);
  LD2450_ErrorCb(&radar2, huart);
}

/* USER CODE END 4 */

void StartMotionTask(void *argument)
{
  /* USER CODE BEGIN 5 */
  Motor_SetDirection(&motorA, MOTOR_FORWARD);
  Motor_SetDirection(&motorB, MOTOR_FORWARD);
  Motor_SetRef(&motorA, 100.0f);
  Motor_SetRef(&motorB, 100.0f);

  /* Infinite loop */
  for(;;)
  {
    osDelay(10);
  }
  /* USER CODE END 5 */
}

void StartHeartbeathTask(void *argument)
{
  /* USER CODE BEGIN StartHeartbeathTask */
  /* Infinite loop */
  for(;;)
  {
	  HAL_GPIO_TogglePin(LD1_GPIO_Port, LD1_Pin);
	  osDelay(T_HEARTBEAT_MS);
    UART_Print("Heartbeat!!\r\n");
  }
  /* USER CODE END StartHeartbeathTask */
}

void StartTelemetryTask(void *argument)
{
  /* USER CODE BEGIN StartTelemetryTask */
  /* Infinite loop */

  Fused_Msg_t m;
  char line[160];
  for(;;)
  {
    osStatus_t status = osMessageQueueGet(fusedQueueHandle, &m, NULL, 200);
    if (status == osOK) {
      size_t n = 0;

      for (int i = 0; i < m.count; i++) {
        const Fused_Target_t *t = &m.t[i];

        n += snprintf(line + n, sizeof(line) - n,
                      "T%d x=%d y=%d v=%d src=%u | ",
                      i + 1, t->x, t->y, t->speed, (unsigned)t->src);
        if (n >= sizeof(line) - 3) break;
      }

      if (n == 0) {
        snprintf(line, sizeof(line), "sin blancos\r\n");
      } else {
        n -= 3;
        snprintf(line + n, sizeof(line) - n, "\r\n");
      }
      UART_Print(line);
    } else if (status == osErrorTimeout) {
      UART_Print("radar sin datos\r\n");
    }

    char line2[160];

    snprintf(line2, sizeof(line2),
             "A: rpm=%.1f u=%.0f I=%.1f | B: rpm=%.1f u=%.0f I=%.1f\r\n",
             motorA.rpm, motorA.u, motorA.integral,
             motorB.rpm, motorB.u, motorB.integral);

    UART_Print(line2);
  }
  /* USER CODE END StartTelemetryTask */
}

void StartProcessTracking1(void *argument)
{
  /* USER CODE BEGIN StartProcessTracking1 */
  /* Infinite loop */
  RadarTask_Run(&cfg1);
  /* USER CODE END StartProcessTracking1 */
}

void StartProcessTracking2(void *argument)
{
  /* USER CODE BEGIN StartProcessTracking2 */
  /* Infinite loop */
  RadarTask_Run(&cfg2);
  /* USER CODE END StartProcessTracking2 */
}

void StartFusionLD(void *argument)
{
  /* USER CODE BEGIN StartFusionLD */
  /* Infinite loop */

  LD2450_Msg_t m;
  LD2450_Msg_t latest[2];

  // Bandera para verificar data inicial
  uint8_t have[2] = {0, 0};

  for (;;)
  {
    osStatus_t status = osMessageQueueGet(trackingQueueHandle, &m, NULL, 200);
    if (status != osOK) continue;
    if (m.id < 1 || m.id > 2) continue;

    latest[m.id - 1] = m;
    have[m.id - 1] = 1;

    uint32_t now = osKernelGetTickCount();
    uint8_t fresh[2];
    for (int r = 0; r < 2; r++) {
      fresh[r] = have[r] && ((now - latest[r].timestamp) < MAX_AGE_MS);
    }

    Fused_Target_t a[3], b[3];
    uint8_t na = fresh[0] ? normalize(&latest[0], -(DISTANCE_T / 2), 0x01, a) : 0;
    uint8_t nb = fresh[1] ? normalize(&latest[1],  (DISTANCE_T / 2), 0x02, b) : 0;
    uint8_t used_b[3] = {0, 0, 0};

    Fused_Msg_t out = { .timestamp = now, .count = 0 };

    // Cada blanco de R1: buscar el más cercano de R2
    for (int i = 0; i < na; i++) {
      int best = -1;
      int32_t best_d2 = (int32_t)GATE_MM * GATE_MM;

      for (int j = 0; j < nb; j++) {
        if (used_b[j]) continue;
        int32_t dx = a[i].x - b[j].x;
        int32_t dy = a[i].y - b[j].y;
        int32_t d2 = dx * dx + dy * dy;
        if (d2 < best_d2) { best_d2 = d2; best = j; }
      }

      Fused_Target_t *o = &out.t[out.count++];
      if (best >= 0) {
        used_b[best] = 1;
        o->x     = (a[i].x + b[best].x) / 2;
        o->y     = (a[i].y + b[best].y) / 2;
        o->speed = (a[i].speed + b[best].speed) / 2;
        o->src   = 0x03;
      } else {
        *o = a[i];
      }
    }

    // Los de R2 que no se asociaron pasan solos
    for (int j = 0; j < nb; j++) {
      if (!used_b[j]) out.t[out.count++] = b[j];
    }

    osMessageQueuePut(fusedQueueHandle, &out, 0, 0);
  }
  /* USER CODE END StartFusionLD */
}

void StartMotorTask(void *argument)
{
  /* USER CODE BEGIN StartMotorTask */
  /* Infinite loop */

  const uint32_t period = (TS_MS * osKernelGetTickFreq()) / 1000U;
  uint32_t tick = osKernelGetTickCount();

  for(;;)
  {
    tick += period;
    osDelayUntil(tick);

    uint32_t now = HAL_GetTick();
    Motor_Step(&motorA, TS_MS / 1000.0f, now);
    Motor_Step(&motorB, TS_MS / 1000.0f, now);
  }
  /* USER CODE END StartMotorTask */
}

void HAL_TIM_PeriodElapsedCallback(TIM_HandleTypeDef *htim)
{
  if (htim->Instance == TIM6)
  {
    HAL_IncTick();
  }
}

void Error_Handler(void)
{
  __disable_irq();
  while (1)
  {
  }
}
